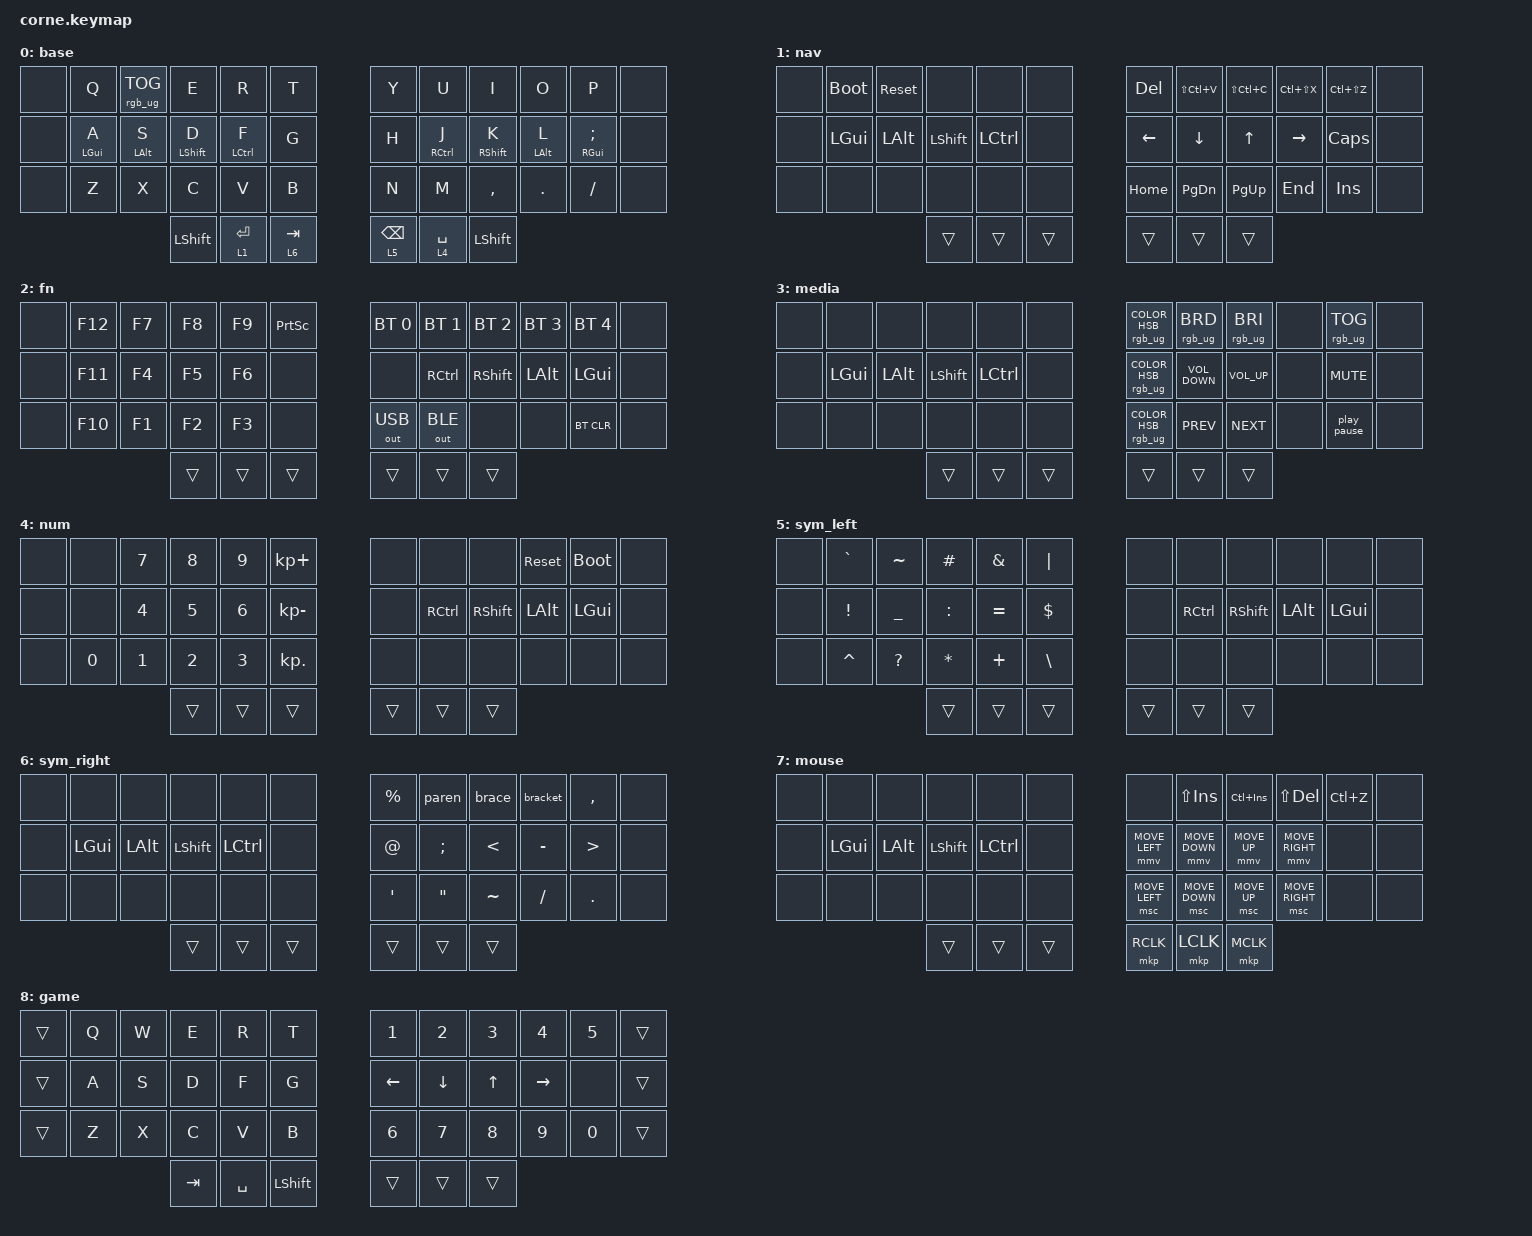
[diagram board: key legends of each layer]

#define ZMK_POINTING_DEFAULT_MOVE_VAL 1600

#include <dt-bindings/zmk/mouse.h>
#include <behaviors.dtsi>
#include <dt-bindings/zmk/bt.h>
#include <dt-bindings/zmk/keys.h>
#include <dt-bindings/zmk/outputs.h>
#include <dt-bindings/zmk/pointing.h>
#include <dt-bindings/zmk/rgb.h>

&led_strip { chain-length = <27>; };

&mt {
    tapping-term-ms = <180>;
    flavor = "tap-preferred";
    quick-tap-ms = <180>;
};

&mmv {
    time-to-max-speed-ms = <150>;
    delay-ms = <0>;
};

&lt { quick-tap-ms = <180>; };

/ {
    combos {
        compatible = "zmk,combos";

        esc {
            bindings = <&kp ESC>;
            key-positions = <27 28>;
        };

        cw {
            bindings = <&caps_word>;
            key-positions = <15 20>;
        };

        fn {
            bindings = <&mo 2>;
            key-positions = <40 37>;
        };

        media {
            bindings = <&mo 3>;
            key-positions = <39 38>;
        };

        game {
            bindings = <&to 8>;
            key-positions = <29 30>;
            layers = <0>;
        };

        base {
            bindings = <&to 0>;
            key-positions = <29 30>;
        };

        mouse {
            bindings = <&mo 7>;
            key-positions = <2 4>;
        };
    };

    behaviors {
        paren: paren {
            compatible = "zmk,behavior-tap-dance";
            label = "PAREN";
            #binding-cells = <0>;
            bindings = <&kp LEFT_PARENTHESIS>, <&kp RIGHT_PARENTHESIS>;
        };

        brace: brace {
            compatible = "zmk,behavior-tap-dance";
            label = "BRACE";
            #binding-cells = <0>;
            bindings = <&kp LEFT_BRACE>, <&kp RIGHT_BRACE>;
        };

        bracket: bracket {
            compatible = "zmk,behavior-tap-dance";
            label = "BRACKET";
            #binding-cells = <0>;
            bindings = <&kp LEFT_BRACKET>, <&kp RIGHT_BRACKET>;
        };

        caps_word: caps_word {
            compatible = "zmk,behavior-caps-word";
            label = "CAPS_WORD";
            #binding-cells = <0>;
            continue-list = <UNDERSCORE BACKSPACE>;
        };

        spec_sym: spec_sym {
            compatible = "zmk,behavior-hold-tap";
            label = "SPEC_SYM";
            bindings = <&kp>, <&kp>;

            #binding-cells = <2>;
            tapping-term-ms = <180>;
            flavor = "balanced";
        };

        play_pause: play_pause {
            compatible = "zmk,behavior-tap-dance";
            label = "PLAY_PAUSE";
            #binding-cells = <0>;
            bindings = <&kp C_PLAY>, <&kp C_PAUSE>;
        };
    };

    keymap {
        compatible = "zmk,keymap";

        base {
            bindings = <
&none  &kp Q           &rgb_ug RGB_TOG &kp E           &kp R        &kp T        &kp Y            &kp U        &kp I        &kp O       &kp P                    &none
&none  &mt LEFT_GUI A  &mt LEFT_ALT S  &mt LSHFT D     &mt LCTRL F  &kp G        &kp H            &mt RCTRL J  &mt RSHFT K  &mt LALT L  &mt RIGHT_GUI SEMICOLON  &none
&none  &kp Z           &kp X           &kp C           &kp V        &kp B        &kp N            &kp M        &kp COMMA    &kp PERIOD  &kp SLASH                &none
                                       &kp LEFT_SHIFT  &lt 1 ENTER  &lt 6 TAB    &lt 5 BACKSPACE  &lt 4 SPACE  &kp LSHIFT
            >;
        };

        nav {
            bindings = <
&none  &bootloader   &sys_reset    &none      &none      &none     &kp DELETE      &kp LS(LC(V))  &kp LS(LC(C))  &kp LC(LS(X))  &kp LC(LS(Z))  &none
&none  &kp LEFT_GUI  &kp LEFT_ALT  &kp LSHFT  &kp LCTRL  &none     &kp LEFT_ARROW  &kp DOWN       &kp UP         &kp RIGHT      &kp CLCK       &none
&none  &none         &none         &none      &none      &none     &kp HOME        &kp PG_DN      &kp PG_UP      &kp END        &kp INS        &none
                                   &trans     &trans     &trans    &trans          &trans         &trans
            >;
        };

        fn {
            bindings = <
&none  &kp F12  &kp F7  &kp F8  &kp F9  &kp PRINTSCREEN    &bt BT_SEL 0  &bt BT_SEL 1  &bt BT_SEL 2  &bt BT_SEL 3  &bt BT_SEL 4  &none
&none  &kp F11  &kp F4  &kp F5  &kp F6  &none              &none         &kp RCTRL     &kp RSHFT     &kp LEFT_ALT  &kp LEFT_GUI  &none
&none  &kp F10  &kp F1  &kp F2  &kp F3  &none              &out OUT_USB  &out OUT_BLE  &none         &none         &bt BT_CLR    &none
                        &trans  &trans  &trans             &trans        &trans        &trans
            >;
        };

        media {
            bindings = <
&none  &none         &none         &none      &none      &none     &rgb_ug RGB_COLOR_HSB(138,100,50)  &rgb_ug RGB_BRD    &rgb_ug RGB_BRI  &none  &rgb_ug RGB_TOG  &none
&none  &kp LEFT_GUI  &kp LEFT_ALT  &kp LSHFT  &kp LCTRL  &none     &rgb_ug RGB_COLOR_HSB(196,100,50)  &kp C_VOLUME_DOWN  &kp C_VOLUME_UP  &none  &kp K_MUTE       &none
&none  &none         &none         &none      &none      &none     &rgb_ug RGB_COLOR_HSB(268,100,50)  &kp C_PREV         &kp C_NEXT       &none  &play_pause      &none
                                   &trans     &trans     &trans    &trans                             &trans             &trans
            >;
        };

        num {
            bindings = <
&none  &none   &kp N7  &kp N8  &kp N9  &kp KP_PLUS     &none   &none      &none      &sys_reset    &bootloader   &none
&none  &none   &kp N4  &kp N5  &kp N6  &kp KP_MINUS    &none   &kp RCTRL  &kp RSHFT  &kp LEFT_ALT  &kp LEFT_GUI  &none
&none  &kp N0  &kp N1  &kp N2  &kp N3  &kp KP_DOT      &none   &none      &none      &none         &none         &none
                       &trans  &trans  &trans          &trans  &trans     &trans
            >;
        };

        sym_left {
            bindings = <
&none  &kp GRAVE        &kp TILDE       &kp HASH      &kp AMPERSAND  &kp PIPE      &none   &none      &none      &none         &none         &none
&none  &kp EXCLAMATION  &kp UNDERSCORE  &kp COLON     &kp EQUAL      &kp DOLLAR    &none   &kp RCTRL  &kp RSHFT  &kp LEFT_ALT  &kp LEFT_GUI  &none
&none  &kp CARET        &kp QUESTION    &kp ASTERISK  &kp PLUS       &kp BSLH      &none   &none      &none      &none         &none         &none
                                        &trans        &trans         &trans        &trans  &trans     &trans
            >;
        };

        sym_right {
            bindings = <
&none  &none     &none     &none      &none      &none     &kp PERCENT  &paren             &brace         &bracket   &kp COMMA         &none
&none  &kp LGUI  &kp LALT  &kp LSHFT  &kp LCTRL  &none     &kp AT       &kp SEMI           &kp LESS_THAN  &kp MINUS  &kp GREATER_THAN  &none
&none  &none     &none     &none      &none      &none     &kp SQT      &kp DOUBLE_QUOTES  &kp TILDE      &kp FSLH   &kp DOT           &none
                           &trans     &trans     &trans    &trans       &trans             &trans
            >;
        };

        mouse {
            bindings = <
&none  &none         &none         &none      &none      &none     &none           &kp LS(INS)     &kp LC(INS)   &kp LS(DEL)      &kp LC(Z)  &none
&none  &kp LEFT_GUI  &kp LEFT_ALT  &kp LSHFT  &kp LCTRL  &none     &mmv MOVE_LEFT  &mmv MOVE_DOWN  &mmv MOVE_UP  &mmv MOVE_RIGHT  &none      &none
&none  &none         &none         &none      &none      &none     &msc MOVE_LEFT  &msc MOVE_DOWN  &msc MOVE_UP  &msc MOVE_RIGHT  &none      &none
                                   &trans     &trans     &trans    &mkp RCLK       &mkp LCLK       &mkp MCLK
            >;
        };

        game {
            bindings = <
&trans  &kp Q  &kp W  &kp E    &kp R      &kp T             &kp N1    &kp N2    &kp N3  &kp N4     &kp N5  &trans
&trans  &kp A  &kp S  &kp D    &kp F      &kp G             &kp LEFT  &kp DOWN  &kp UP  &kp RIGHT  &none   &trans
&trans  &kp Z  &kp X  &kp C    &kp V      &kp B             &kp N6    &kp N7    &kp N8  &kp N9     &kp N0  &trans
                      &kp TAB  &kp SPACE  &kp LEFT_SHIFT    &trans    &trans    &trans
            >;
        };
    };
};
